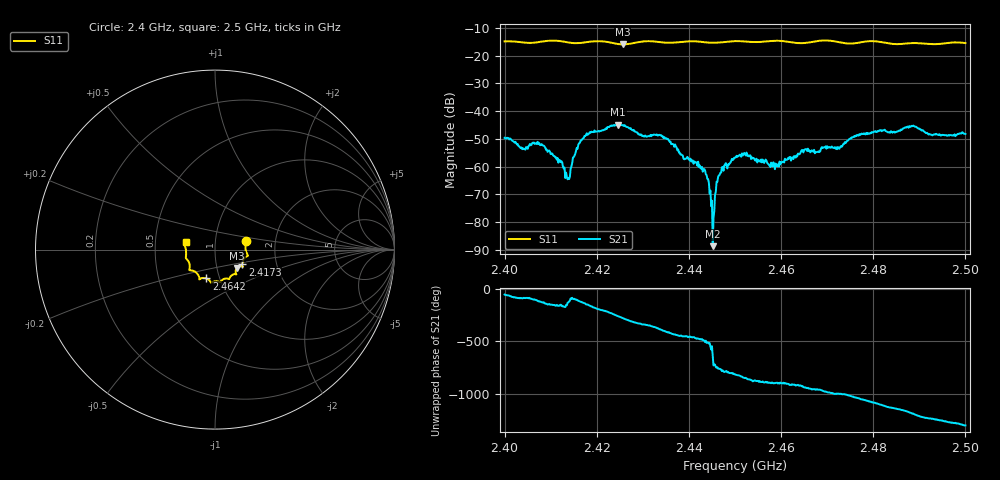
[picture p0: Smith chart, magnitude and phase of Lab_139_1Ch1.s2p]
# Hz S RI R 50
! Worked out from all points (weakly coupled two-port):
!   601 points, 2.4 GHz to 2.5 GHz, reference 50 ohm
!   highest |S21| = -44.95 dB at 2.4247 GHz (marker M1); lowest = -88.7 dB at 2.4452 GHz (marker M2)
!   lowest |S11| = -15.9 dB at 2.4257 GHz (marker M3), VSWR 1.38, Z = 62.4 - j13.1 ohm
!   |S11| at or under -10 dB: start of sweep to end of sweep
!   S12 and S22 are empty: the file has one direction only
!   S11 on the Smith chart (normalised r, x): 2.4 GHz: 1.41, +0.14; 2.4173 GHz: 1.34, -0.23; 2.4642 GHz: 0.86, -0.29; 2.5 GHz: 0.72, +0.06
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2.4e9  0.1738 0.0495  0.00194 -0.00266  0 0  0 0
2.404e9  0.1715 0.0251  5.32e-05 -0.00213  0 0  0 0
2.408333e9  0.1796 -0.0241  -0.00157 -0.00181  0 0  0 0
2.412e9  0.18 -0.0366  -0.00122 -0.000439  0 0  0 0
2.413667e9  0.1682 -0.0441  -0.00041 -0.000423  0 0  0 0
2.416667e9  0.1528 -0.075  -0.00165 -0.00247  0 0  0 0
2.417333e9  0.1521 -0.0825  -0.00264 -0.00238  0 0  0 0
2.424667e9  0.1304 -0.0962  -0.000853 0.00559  0 0  0 0
2.425667e9  0.1225 -0.1025  0.000906 0.00548  0 0  0 0
2.433333e9  0.1125 -0.1365  0.0035 -0.000981  0 0  0 0
2.443333e9  0.0677 -0.1612  -0.000643 -0.00063  0 0  0 0
2.445167e9  0.0539 -0.1621  3.39e-06 3.64e-05  0 0  0 0
2.446833e9  0.0413 -0.1683  0.000548 -0.000543  0 0  0 0
2.45e9  0.0295 -0.1808  -0.000102 -0.00144  0 0  0 0
2.452e9  0.0229 -0.1792  -0.00107 -0.00139  0 0  0 0
2.459e9  -0.0216 -0.1844  -0.00105 -8.69e-05  0 0  0 0
2.464167e9  -0.0482 -0.1609  -0.00163 0.000603  0 0  0 0
2.466667e9  -0.0762 -0.1595  -0.00101 0.00169  0 0  0 0
2.483333e9  -0.1407 -0.0894  0.00278 -0.00307  0 0  0 0
2.488667e9  -0.1619 -0.048  -0.00185 -0.00515  0 0  0 0
2.4925e9  -0.1605 -0.0201  -0.00344 -0.00156  0 0  0 0
2.5e9  -0.1635 0.0415  -0.00288 0.00258  0 0  0 0
